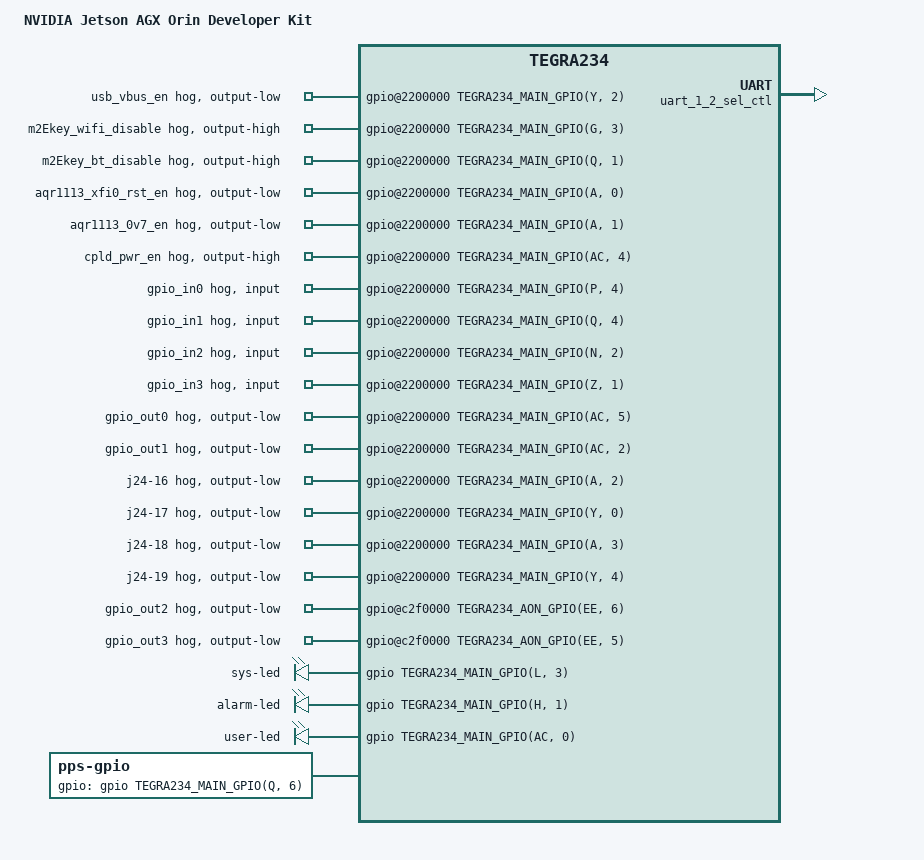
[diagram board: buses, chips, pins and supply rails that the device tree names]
// SPDX-License-Identifier: GPL-2.0
/dts-v1/;

// Module files must be included first
#include "tegra234-p3701-0000.dtsi"
#include "tegra234-p3737-0000+p3701.dtsi"

#define BOARD_VERSION_AA00 0
#define BOARD_VERSION_AA01 1
#define BOARD_VERSION_AA02 2
#define BOARD_VERSION_AA03 3
#define BOARD_VERSION_AA04 4

#ifndef BOARD_VERSION
#define BOARD_VERSION BOARD_VERSION_AA04
#endif

/ {
	model = "NVIDIA Jetson AGX Orin Developer Kit";
	compatible = "nvidia,p3737-0000+p3701-0000", "nvidia,p3701-0000", "nvidia,tegra234";
	vendor_board_version = <BOARD_VERSION>;

	bus@0{
		pcie@14160000 { //C4 M.2 KeyM
			nvidia,sub-rst-gpio = <&gpio TEGRA234_MAIN_GPIO(AC, 7) GPIO_ACTIVE_LOW>;
		};

		pcie@141a0000 { //C5  asm1806
			nvidia,sub-rst-gpio = <&gpio TEGRA234_MAIN_GPIO(G, 3) GPIO_ACTIVE_HIGH>;
			nvidia,sub-brst-gpio = <&gpio TEGRA234_MAIN_GPIO(AC, 3) GPIO_ACTIVE_HIGH>;
		};

		gpio@2200000 {
			usb_vbus_en {
					gpio-hog;
					output-low;
					gpios = <TEGRA234_MAIN_GPIO(Y, 2) 0>;
					label = "usb_vbus_en";
					status = "okay";
			};
			m2Ekey_wifi_disable {
					gpio-hog;
					output-high;
					gpios = <TEGRA234_MAIN_GPIO(G, 3) 0>;
					label = "m2Ekey_wifi_disable";
					status = "okay";
			};
			m2Ekey_bt_disable {
					gpio-hog;
					output-high;
					gpios = <TEGRA234_MAIN_GPIO(Q, 1) 0>;
					label = "m2Ekey_bt_disable";
					status = "okay";
			};
			aqr1113_xfi0_rst_en {
					gpio-hog;
					output-low;
					gpios = <TEGRA234_MAIN_GPIO(A, 0) 0>;
					label = "aqr1113_xfi0_rst_en";
					status = "okay";
			};
			aqr1113_0v7_en {
					gpio-hog;
					output-low;
					gpios = <TEGRA234_MAIN_GPIO(A, 1) 0>;
					label = "aqr1113_0v7_en";
					status = "okay";
			};
			cpld_pwr_en {
					gpio-hog;
					output-high;
					gpios = <TEGRA234_MAIN_GPIO(AC, 4) 0>;
					label = "cpld_pwr_en";
					status = "okay";
			};
			gpio_in0 {
					gpio-hog;
					input;
					gpios = <TEGRA234_MAIN_GPIO(P, 4) 0>;
					label = "gpio_in0";
					status = "okay";
			};
			gpio_in1 {
					gpio-hog;
					input;
					gpios = <TEGRA234_MAIN_GPIO(Q, 4) 0>;
					label = "gpio_in1";
					status = "okay";
			};
			gpio_in2 {
					gpio-hog;
					input;
					gpios = <TEGRA234_MAIN_GPIO(N, 2) 0>;
					label = "gpio_in2";
					status = "okay";
			};
			gpio_in3 {
					gpio-hog;
					input;
					gpios = <TEGRA234_MAIN_GPIO(Z, 1) 0>;
					label = "gpio_in3";
					status = "okay";
			};
			gpio_out0 {
					gpio-hog;
					output-low;
#if (BOARD_VERSION >= BOARD_VERSION_AA04)
					gpios = <TEGRA234_MAIN_GPIO(AC, 5) 0>;  // board AA04 config, change GPIO02 to GPIO11
#else
                    gpios = <TEGRA234_MAIN_GPIO(G, 7) 0>;  // board AA03 config
#endif
					label = "gpio_out0";
					status = "okay";
			};
			gpio_out1 {
					gpio-hog;
					output-low;
					gpios = <TEGRA234_MAIN_GPIO(AC, 2) 0>;
					label = "gpio_out1";
					status = "okay";
			};
			j24-16 {
					gpio-hog;
					output-low;
					gpios = <TEGRA234_MAIN_GPIO(A, 2) 0>;
					label = "j24-16";
					status = "okay";
			};
			j24-17 {
					gpio-hog;
					output-low;
					gpios = <TEGRA234_MAIN_GPIO(Y, 0) 0>;
					label = "j24-17";
					status = "okay";
			};
			j24-18 {
					gpio-hog;
					output-low;
					gpios = <TEGRA234_MAIN_GPIO(A, 3) 0>;
					label = "j24-18";
					status = "okay";
			};
			j24-19 {
					gpio-hog;
					output-low;
					gpios = <TEGRA234_MAIN_GPIO(Y, 4) 0>;
					label = "j24-19";
					status = "okay";
			};
		};

		gpio@c2f0000{
			gpio_out2 {
					gpio-hog;
					output-low;
					gpios = <TEGRA234_AON_GPIO(EE, 6) 0>;
					label = "gpio_out2";
					status = "okay";
			};
			gpio_out3 {
					gpio-hog;
					output-low;
					gpios = <TEGRA234_AON_GPIO(EE, 5) 0>;
					label = "gpio_out3";
					status = "okay";
			};
			uart_1_2_sel_ctl {
					gpio-hog;
					output-low;
					gpios = <TEGRA234_AON_GPIO(BB, 1) 0>;
					label = "uart_1_2_sel_ctl";
					status = "okay";
			};
		};
		leds {
			compatible = "gpio-leds";
			led0 {
					label = "sys-led";
					gpios = <&gpio TEGRA234_MAIN_GPIO(L, 3) 0>;
					linux,default-trigger = "heartbeat";
					default-state = "on";
			};

			led1 {
					label = "alarm-led";
					gpios = <&gpio TEGRA234_MAIN_GPIO(H, 1) 0>;
					default-state = "off";
			};
			led2 {
					label = "user-led";
					gpios = <&gpio TEGRA234_MAIN_GPIO(AC, 0) 0>;
					default-state = "off";
			};
		};
		pps {
                        gpios = <&gpio TEGRA234_MAIN_GPIO(Q, 6) GPIO_ACTIVE_HIGH>;
                        compatible = "pps-gpio";
                        //assert-falling-edge;
                        status = "okay";
                };

	};
	

	gpio-keys {
		key-power {
			gpio-key,wakeup;
		};
	};


};
